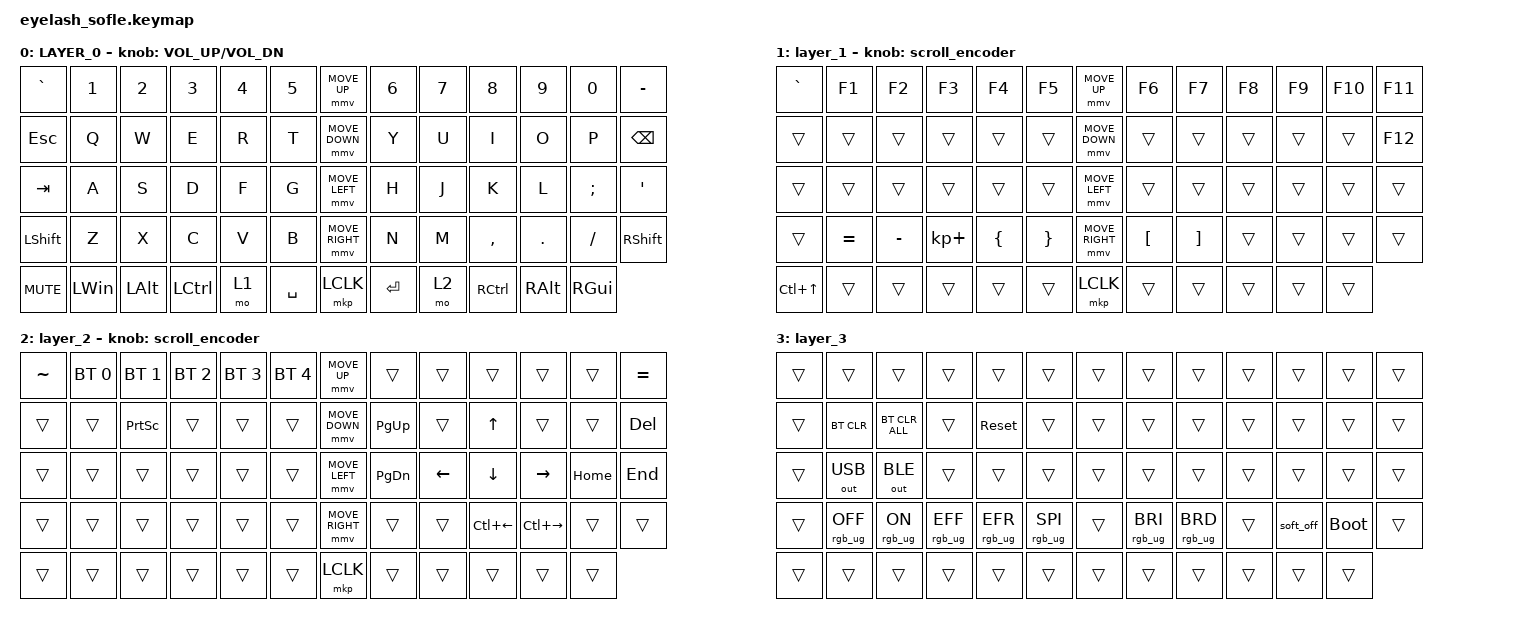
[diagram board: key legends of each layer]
#define ZMK_POINTING_DEFAULT_MOVE_VAL 1200  // 600
#define ZMK_POINTING_DEFAULT_SCRL_VAL 25   // 10

#include <input/processors.dtsi>
#include <zephyr/dt-bindings/input/input-event-codes.h>
#include <behaviors.dtsi>
#include <dt-bindings/zmk/bt.h>
#include <dt-bindings/zmk/keys.h>
#include <dt-bindings/zmk/outputs.h>
#include <dt-bindings/zmk/pointing.h>
#include <dt-bindings/zmk/pointing.h>
#include <dt-bindings/zmk/pointing.h>
#include <dt-bindings/zmk/rgb.h>

&mmv_input_listener { input-processors = <&zip_xy_scaler 2 1>; };

&msc_input_listener { input-processors = <&zip_scroll_scaler 2 1>; };

&msc {
    acceleration-exponent = <1>;      // 0
    time-to-max-speed-ms = <100>;       // 300
    delay-ms = <0>;                   // 0
};

&mmv {
    time-to-max-speed-ms = <500>;
    acceleration-exponent = <1>;
    trigger-period-ms = <16>;
};

/ {
    scroll_encoder: scroll_encoder {
        compatible = "zmk,behavior-sensor-rotate";
        #sensor-binding-cells = <0>;
        bindings = <&msc SCRL_DOWN>, <&msc SCRL_UP>;

        tap-ms = <100>;
    };

    behaviors {
    };

    keymap {
        compatible = "zmk,keymap";

        layer_0 {
            bindings = <
&kp GRAVE   &kp N1        &kp N2        &kp N3            &kp N4  &kp N5       &mmv MOVE_UP     &kp N6     &kp N7  &kp N8             &kp N9         &kp N0         &kp MINUS
&kp ESCAPE  &kp Q         &kp W         &kp E             &kp R   &kp T        &mmv MOVE_DOWN   &kp Y      &kp U   &kp I              &kp O          &kp P          &kp BACKSPACE
&kp TAB     &kp A         &kp S         &kp D             &kp F   &kp G        &mmv MOVE_LEFT   &kp H      &kp J   &kp K              &kp L          &kp SEMI       &kp APOS
&kp LSHFT   &kp Z         &kp X         &kp C             &kp V   &kp B        &mmv MOVE_RIGHT  &kp N      &kp M   &kp COMMA          &kp DOT        &kp FSLH       &kp RIGHT_SHIFT
&kp C_MUTE  &kp LEFT_WIN  &kp LEFT_ALT  &kp LEFT_CONTROL  &mo 1   &kp SPACE    &mkp LCLK        &kp ENTER  &mo 2   &kp RIGHT_CONTROL  &kp RIGHT_ALT  &kp RIGHT_GUI
            >;

            sensor-bindings = <&inc_dec_kp C_VOLUME_UP C_VOL_DN>;
            display-name = "LAYER_0";
        };

        layer_1 {
            bindings = <
&kp GRAVE         &kp F1     &kp F2     &kp F3       &kp F4          &kp F5             &mmv MOVE_UP     &kp F6            &kp F7             &kp F8  &kp F9  &kp F10  &kp F11
&trans            &trans     &trans     &trans       &trans          &trans             &mmv MOVE_DOWN   &trans            &trans             &trans  &trans  &trans   &kp F12
&trans            &trans     &trans     &trans       &trans          &trans             &mmv MOVE_LEFT   &trans            &trans             &trans  &trans  &trans   &trans
&trans            &kp EQUAL  &kp MINUS  &kp KP_PLUS  &kp LEFT_BRACE  &kp RIGHT_BRACE    &mmv MOVE_RIGHT  &kp LEFT_BRACKET  &kp RIGHT_BRACKET  &trans  &trans  &trans   &trans
&kp LC(UP_ARROW)  &trans     &trans     &trans       &trans          &trans             &mkp LCLK        &trans            &trans             &trans  &trans  &trans
            >;

            display-name = "layer_1";
            sensor-bindings = <&scroll_encoder>;
        };

        layer_2 {
            bindings = <
&kp TILDE  &bt BT_SEL 0  &bt BT_SEL 1     &bt BT_SEL 2  &bt BT_SEL 3  &bt BT_SEL 4    &mmv MOVE_UP     &trans         &trans          &trans          &trans           &trans    &kp EQUAL
&trans     &trans        &kp PRINTSCREEN  &trans        &trans        &trans          &mmv MOVE_DOWN   &kp PAGE_UP    &trans          &kp UP_ARROW    &trans           &trans    &kp DELETE
&trans     &trans        &trans           &trans        &trans        &trans          &mmv MOVE_LEFT   &kp PAGE_DOWN  &kp LEFT_ARROW  &kp DOWN_ARROW  &kp RIGHT_ARROW  &kp HOME  &kp END
&trans     &trans        &trans           &trans        &trans        &trans          &mmv MOVE_RIGHT  &trans         &trans          &kp LC(LEFT)    &kp LC(RIGHT)    &trans    &trans
&trans     &trans        &trans           &trans        &trans        &trans          &mkp LCLK        &trans         &trans          &trans          &trans           &trans
            >;

            sensor-bindings = <&scroll_encoder>;
        };

        layer_3 {
            bindings = <
&trans  &trans           &trans          &trans           &trans           &trans             &trans  &trans           &trans           &trans  &trans     &trans       &trans
&trans  &bt BT_CLR       &bt BT_CLR_ALL  &trans           &sys_reset       &trans             &trans  &trans           &trans           &trans  &trans     &trans       &trans
&trans  &out OUT_USB     &out OUT_BLE    &trans           &trans           &trans             &trans  &trans           &trans           &trans  &trans     &trans       &trans
&trans  &rgb_ug RGB_OFF  &rgb_ug RGB_ON  &rgb_ug RGB_EFF  &rgb_ug RGB_EFR  &rgb_ug RGB_SPI    &trans  &rgb_ug RGB_BRI  &rgb_ug RGB_BRD  &trans  &soft_off  &bootloader  &trans
&trans  &trans           &trans          &trans           &trans           &trans             &trans  &trans           &trans           &trans  &trans     &trans
            >;
        };
    };

    conditional_layers {
        compatible = "zmk,conditional-layers";

        layer_3 {
            if-layers = <2 1>;
            then-layer = <3>;
        };
    };
};
